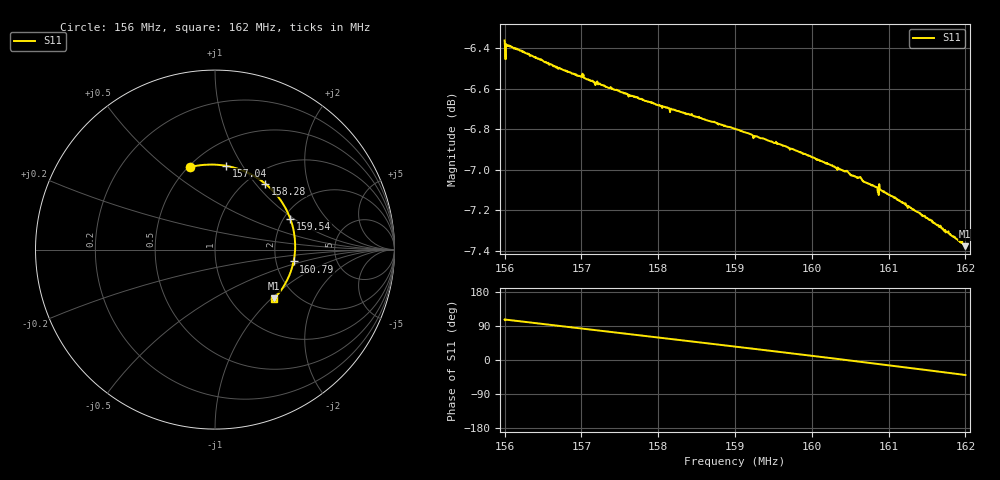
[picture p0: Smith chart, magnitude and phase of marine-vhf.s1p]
! Calibrated averaged scanner-service zoom
# Hz S RI R 50
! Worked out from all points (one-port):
!   1001 points, 156 MHz to 162 MHz, reference 50 ohm
!   lowest |S11| = -7.4 dB at 161.99 MHz (marker M1), VSWR 2.49, Z = 78.1 - j52 ohm
!   |S11| at or under -10 dB: nowhere
!   S11 on the Smith chart (normalised r, x): 156 MHz: 0.51, +0.61; 157.04 MHz: 0.71, +0.85; 158.28 MHz: 1.20, +1.12; 159.54 MHz: 2.17, +0.94; 160.79 MHz: 2.51, -0.41; 162 MHz: 1.56, -1.04
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1.56e8  -0.1377 0.4607
1.56042e8  -0.1314 0.461
1.56204e8  -0.1 0.4675
1.56384e8  -0.0646 0.4719
1.5675e8  0.00746 0.4729
1.57038e8  0.0636 0.4663
1.5726e8  0.1057 0.4567
1.575e8  0.1502 0.4423
1.5771e8  0.1876 0.4261
1.57896e8  0.2193 0.4091
1.5825e8  0.2755 0.3707
1.5828e8  0.28 0.3671
1.58646e8  0.3309 0.3186
1.59e8  0.3727 0.265
1.59288e8  0.4002 0.217
1.5954e8  0.4195 0.1726
1.5975e8  0.4317 0.1339
1.59942e8  0.4398 0.0977
1.6014e8  0.4448 0.0597
1.60326e8  0.4466 0.0237
1.605e8  0.4454 -0.0102
1.60788e8  0.4379 -0.0658
1.61028e8  0.4259 -0.1111
1.6125e8  0.41 -0.1517
1.61586e8  0.3794 -0.2096
1.61832e8  0.3511 -0.2485
1.61994e8  0.3301 -0.2721
1.62e8  0.3294 -0.2729
